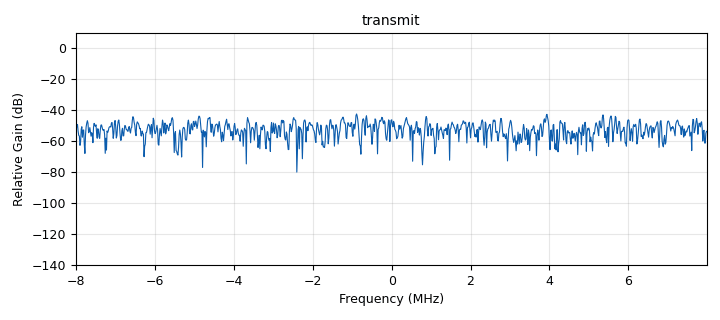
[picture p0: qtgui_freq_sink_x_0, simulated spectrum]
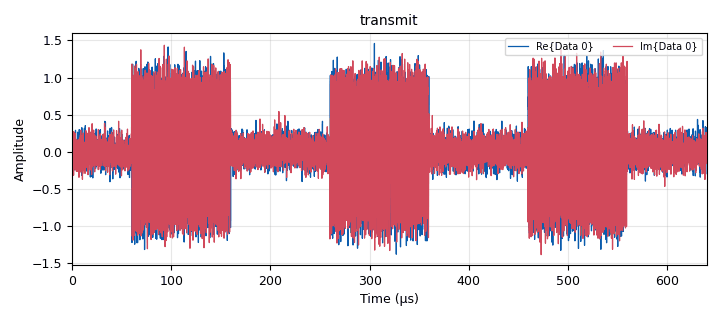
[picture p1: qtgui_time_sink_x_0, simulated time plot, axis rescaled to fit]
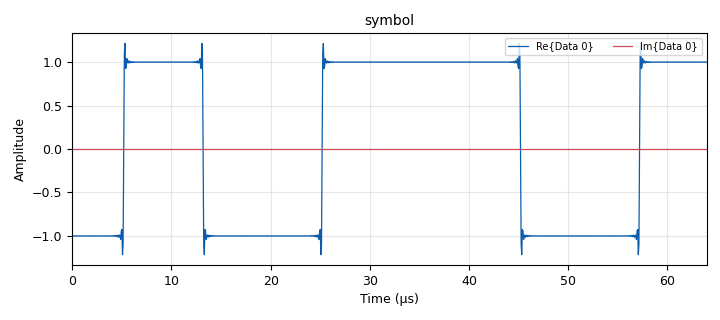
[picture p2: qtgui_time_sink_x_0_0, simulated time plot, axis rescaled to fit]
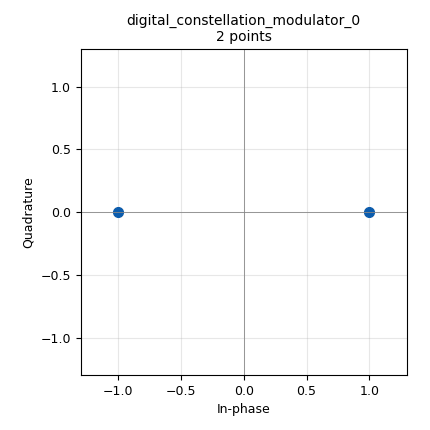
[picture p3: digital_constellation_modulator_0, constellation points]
options:
  parameters:
    author: zhouzinan
    generate_options: qt_gui
    id: mod_pulse_qfsk_bpsk
    output_language: python
    title: mod_pulse_qfsk_bpsk
  states: {}

blocks:
- name: SNR
  id: variable_qtgui_range
  parameters:
    gui_hint: 0,0
    orient: Qt.Horizontal
    start: '-5'
    step: '1'
    stop: '15'
    value: '15'
  states: {}
- name: bpsk
  id: variable_constellation
  parameters:
    precision: '8'
    type: bpsk
  states: {}
- name: carrier_freq
  id: variable
  parameters:
    value: 1e6
  states: {}
- name: carrier_freq_1
  id: variable
  parameters:
    value: carrier_freq-3*step_freq/2
  states: {}
- name: carrier_freq_2
  id: variable
  parameters:
    value: carrier_freq-step_freq/2
  states: {}
- name: carrier_freq_3
  id: variable
  parameters:
    value: carrier_freq+step_freq/2
  states: {}
- name: carrier_freq_4
  id: variable
  parameters:
    value: carrier_freq+3*step_freq/2
  states: {}
- name: device
  id: variable
  parameters:
    value: '"device_1"'
  states: {}
- name: excess_bw
  id: variable
  parameters:
    value: '350e-3'
  states: {}
- name: gain_range
  id: variable_qtgui_range
  parameters:
    gui_hint: 4,0
    orient: Qt.Horizontal
    start: '0'
    step: '10'
    stop: '50'
    value: '40'
  states: {}
- name: mod_freq
  id: variable
  parameters:
    value: 10e3
  states: {}
- name: noise_power
  id: variable
  parameters:
    value: signal_power/pow(10, SNR/10)
  states: {}
- name: pri
  id: variable_qtgui_range
  parameters:
    gui_hint: 1,0
    orient: Qt.Horizontal
    start: '0'
    step: '10e-6'
    stop: '1e-3'
    value: '200e-6'
  states: {}
- name: pw
  id: variable_qtgui_range
  parameters:
    gui_hint: 2,0
    orient: Qt.Horizontal
    start: '0'
    step: '1e-6'
    stop: '500e-6'
    value: '100e-6'
  states: {}
- name: rcc_taps
  id: variable
  parameters:
    value: firdes.root_raised_cosine(1.0, samp_rate, samp_rate/sps, excess_bw, 11*sps)
  states: {}
- name: rf_freq
  id: variable
  parameters:
    value: 1e9
  states: {}
- name: samp_rate
  id: variable
  parameters:
    value: 16e6
  states: {}
- name: signal_power
  id: variable
  parameters:
    value: '0.5'
  states: {}
- name: sps
  id: variable
  parameters:
    value: '2'
  states: {}
- name: step_freq
  id: variable
  parameters:
    value: 0.2e6
  states: {}
- name: symbol_width
  id: variable
  parameters:
    value: '1e-6'
  states: {}
- name: analog_agc_xx_0
  id: analog_agc_xx
  parameters:
    gain: '1.0'
    max_gain: '65536'
    rate: '1e-4'
    reference: '1.0'
    type: complex
  states: {}
- name: analog_random_source_x_0
  id: analog_random_source_x
  parameters:
    max: '2'
    min: '0'
    num_samps: '1000'
    repeat: 'True'
    type: byte
  states: {}
- name: analog_random_source_x_0_0
  id: analog_random_source_x
  parameters:
    max: '5'
    min: '1'
    num_samps: '1000'
    repeat: 'True'
    type: byte
  states: {}
- name: analog_sig_source_x_1
  id: analog_sig_source_x
  parameters:
    amp: '1'
    freq: mod_freq/2
    offset: '0'
    phase: '0'
    samp_rate: samp_rate
    type: float
    waveform: analog.GR_SQR_WAVE
  states: {}
- name: blocks_add_const_vxx_0
  id: blocks_add_const_vxx
  parameters:
    const: (carrier_freq_1-step_freq)/1e6
    type: float
  states: {}
- name: blocks_complex_to_float_0
  id: blocks_complex_to_float
  parameters: {}
  states: {}
- name: blocks_file_sink_0
  id: blocks_file_sink
  parameters:
    file: '"/home/zhouzinan/Documents/IndividualRadar/dataset_grc/all_mod_3.0/QFSK_BPSK/{}".format(device)'
    type: complex
  states: {state: disabled}
- name: blocks_float_to_complex_0
  id: blocks_float_to_complex
  parameters: {}
  states: {}
- name: blocks_multiply_const_vxx_0
  id: blocks_multiply_const_vxx
  parameters:
    const: 1/2
    type: complex
  states: {}
- name: blocks_multiply_const_vxx_1
  id: blocks_multiply_const_vxx
  parameters:
    const: step_freq/1e6
    type: float
  states: {}
- name: blocks_multiply_xx_0
  id: blocks_multiply_xx
  parameters:
    type: complex
  states: {}
- name: blocks_multiply_xx_1
  id: blocks_multiply_xx
  parameters:
    type: float
  states: {}
- name: blocks_multiply_xx_1_0
  id: blocks_multiply_xx
  parameters:
    type: float
  states: {}
- name: blocks_repeat_0
  id: blocks_repeat
  parameters:
    interp: int(symbol_width*samp_rate)
    type: byte
  states: {}
- name: blocks_skiphead_0
  id: blocks_skiphead
  parameters:
    num_items: int(samp_rate*2)
    type: complex
  states: {state: disabled}
- name: blocks_uchar_to_float_0
  id: blocks_uchar_to_float
  parameters: {}
  states: {}
- name: blocks_unpack_k_bits_bb_0
  id: blocks_unpack_k_bits_bb
  parameters:
    k: '4'
  states: {}
- name: blocks_vco_c_0
  id: blocks_vco_c
  parameters:
    amplitude: '1'
    samp_rate: samp_rate
    sensitivity: carrier_freq*2*np.pi
  states: {}
- name: blocks_vector_source_x_0
  id: blocks_vector_source_x
  parameters:
    repeat: 'True'
    type: float
    vector: np.hstack((np.ones(int(pw*samp_rate)), np.zeros(int((pri-pw)*samp_rate))))
  states: {state: disabled}
- name: blocks_vector_source_x_0_0
  id: blocks_vector_source_x
  parameters:
    repeat: 'True'
    type: byte
    vector: (1, 2,3,4)
  states: {state: disabled}
- name: blocks_vector_source_x_1
  id: blocks_vector_source_x
  parameters:
    repeat: 'True'
    type: byte
    vector: (0, 1)
  states: {state: disabled}
- name: channels_channel_model_0
  id: channels_channel_model
  parameters:
    epsilon: '1.0'
    freq_offset: '0.0'
    noise_voltage: pow(noise_power*2, 1/2)
    seed: '0'
    taps: '1'
  states: {}
- name: device_0
  id: parameter
  parameters:
    value: '"232057"'
  states: {}
- name: device_1
  id: parameter
  parameters:
    value: '"8243c3"'
  states: {}
- name: device_2
  id: parameter
  parameters:
    value: '"90a7c7"'
  states: {}
- name: device_3
  id: parameter
  parameters:
    value: '"4a0a4f"'
  states: {}
- name: device_4
  id: parameter
  parameters:
    value: '"24644f"'
  states: {}
- name: device_5
  id: parameter
  parameters:
    value: '"6f2e4f"'
  states: {}
- name: device_6
  id: parameter
  parameters:
    value: '"53454f"'
  states: {}
- name: digital_constellation_modulator_0
  id: digital_constellation_modulator
  parameters:
    constellation: bpsk
    differential: 'True'
    excess_bw: '0.35'
    samples_per_symbol: '2'
  states: {}
- name: import_0
  id: import
  parameters:
    imports: import numpy as np
  states: {}
- name: osmosdr_sink_0
  id: osmosdr_sink
  parameters:
    args: '"hackrf={}".format(eval(device))'
    bb_gain0: '20'
    freq0: rf_freq
    gain0: '11'
    if_gain0: '47'
    sample_rate: samp_rate
    sync: sync
    type: fc32
  states: {}
- name: qtgui_freq_sink_x_0
  id: qtgui_freq_sink_x
  parameters:
    bw: samp_rate
    fc: '0'
    fftsize: '1024'
    name: '"transmit"'
    type: complex
    wintype: firdes.WIN_BLACKMAN_hARRIS
  states: {}
- name: qtgui_freq_sink_x_1
  id: qtgui_freq_sink_x
  parameters:
    bw: samp_rate
    fc: '0'
    fftsize: 1024*4
    name: '"receive"'
    type: complex
    wintype: firdes.WIN_BLACKMAN_hARRIS
  states: {}
- name: qtgui_time_sink_x_0
  id: qtgui_time_sink_x
  parameters:
    name: '"transmit"'
    size: '10240'
    srate: samp_rate
    type: complex
  states: {}
- name: qtgui_time_sink_x_0_0
  id: qtgui_time_sink_x
  parameters:
    name: '"symbol"'
    size: '1024'
    srate: samp_rate
    type: complex
  states: {}
- name: qtgui_time_sink_x_1
  id: qtgui_time_sink_x
  parameters:
    name: '"receive"'
    size: '10240'
    srate: samp_rate
    type: complex
  states: {}
- name: qtgui_waterfall_sink_x_0
  id: qtgui_waterfall_sink_x
  parameters:
    bw: samp_rate
    fc: '0'
    fftsize: '1024'
    name: '"receive"'
    type: complex
    wintype: firdes.WIN_BLACKMAN_hARRIS
  states: {}
- name: uhd_usrp_source_0
  id: uhd_usrp_source
  parameters:
    ant0: TX/RX
    center_freq0: rf_freq
    dc_offs_enb0: '""'
    dev_args: '""'
    gain0: gain_range
    iq_imbal_enb0: '""'
    norm_gain0: 'False'
    samp_rate: samp_rate
    sync: sync
    type: fc32
  states: {}

connections:
- [analog_agc_xx_0, '0', blocks_multiply_const_vxx_0, '0']
- [analog_random_source_x_0, '0', blocks_unpack_k_bits_bb_0, '0']
- [analog_random_source_x_0_0, '0', blocks_repeat_0, '0']
- [analog_sig_source_x_1, '0', blocks_multiply_xx_1, '1']
- [analog_sig_source_x_1, '0', blocks_multiply_xx_1_0, '1']
- [blocks_add_const_vxx_0, '0', blocks_vco_c_0, '0']
- [blocks_complex_to_float_0, '0', blocks_multiply_xx_1, '0']
- [blocks_complex_to_float_0, '1', blocks_multiply_xx_1_0, '0']
- [blocks_float_to_complex_0, '0', channels_channel_model_0, '0']
- [blocks_multiply_const_vxx_0, '0', blocks_skiphead_0, '0']
- [blocks_multiply_const_vxx_0, '0', qtgui_freq_sink_x_1, '0']
- [blocks_multiply_const_vxx_0, '0', qtgui_time_sink_x_1, '0']
- [blocks_multiply_const_vxx_0, '0', qtgui_waterfall_sink_x_0, '0']
- [blocks_multiply_const_vxx_1, '0', blocks_add_const_vxx_0, '0']
- [blocks_multiply_xx_0, '0', blocks_complex_to_float_0, '0']
- [blocks_multiply_xx_1, '0', blocks_float_to_complex_0, '0']
- [blocks_multiply_xx_1_0, '0', blocks_float_to_complex_0, '1']
- [blocks_repeat_0, '0', blocks_uchar_to_float_0, '0']
- [blocks_skiphead_0, '0', blocks_file_sink_0, '0']
- [blocks_uchar_to_float_0, '0', blocks_multiply_const_vxx_1, '0']
- [blocks_unpack_k_bits_bb_0, '0', digital_constellation_modulator_0, '0']
- [blocks_vco_c_0, '0', blocks_multiply_xx_0, '1']
- [blocks_vector_source_x_0, '0', blocks_multiply_xx_1, '1']
- [blocks_vector_source_x_0, '0', blocks_multiply_xx_1_0, '1']
- [blocks_vector_source_x_0_0, '0', blocks_repeat_0, '0']
- [blocks_vector_source_x_1, '0', blocks_unpack_k_bits_bb_0, '0']
- [channels_channel_model_0, '0', osmosdr_sink_0, '0']
- [channels_channel_model_0, '0', qtgui_freq_sink_x_0, '0']
- [channels_channel_model_0, '0', qtgui_time_sink_x_0, '0']
- [digital_constellation_modulator_0, '0', blocks_multiply_xx_0, '0']
- [digital_constellation_modulator_0, '0', qtgui_time_sink_x_0_0, '0']
- [uhd_usrp_source_0, '0', analog_agc_xx_0, '0']

metadata:
  file_format: 1
